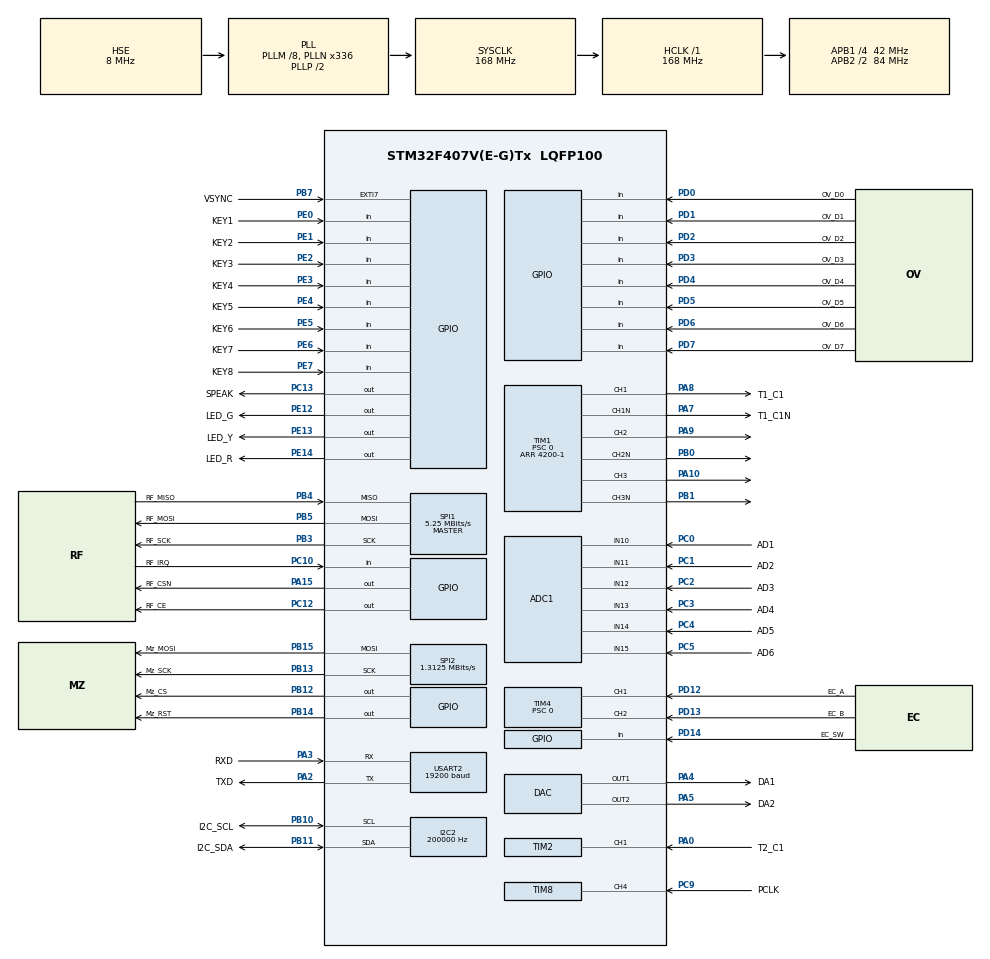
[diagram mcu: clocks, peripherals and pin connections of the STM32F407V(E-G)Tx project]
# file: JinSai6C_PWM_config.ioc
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ADC1.Channel-0\#ChannelRegularConversion=ADC_CHANNEL_10
ADC1.Channel-1\#ChannelRegularConversion=ADC_CHANNEL_11
ADC1.Channel-2\#ChannelRegularConversion=ADC_CHANNEL_12
ADC1.Channel-3\#ChannelRegularConversion=ADC_CHANNEL_13
ADC1.Channel-4\#ChannelRegularConversion=ADC_CHANNEL_14
ADC1.Channel-5\#ChannelRegularConversion=ADC_CHANNEL_15
ADC1.ContinuousConvMode=ENABLE
ADC1.DMAContinuousRequests=ENABLE
ADC1.EOCSelection=ADC_EOC_SEQ_CONV
ADC1.ExternalTrigConv=ADC_EXTERNALTRIGCONV_T3_TRGO
ADC1.NbrOfConversion=6
ADC1.NbrOfConversionFlag=1
ADC1.Rank-0\#ChannelRegularConversion=1
ADC1.Rank-1\#ChannelRegularConversion=2
ADC1.Rank-2\#ChannelRegularConversion=3
ADC1.Rank-3\#ChannelRegularConversion=4
ADC1.Rank-4\#ChannelRegularConversion=5
ADC1.Rank-5\#ChannelRegularConversion=6
ADC1.SamplingTime-0\#ChannelRegularConversion=ADC_SAMPLETIME_3CYCLES
ADC1.SamplingTime-1\#ChannelRegularConversion=ADC_SAMPLETIME_15CYCLES
ADC1.SamplingTime-2\#ChannelRegularConversion=ADC_SAMPLETIME_28CYCLES
ADC1.SamplingTime-3\#ChannelRegularConversion=ADC_SAMPLETIME_56CYCLES
ADC1.SamplingTime-4\#ChannelRegularConversion=ADC_SAMPLETIME_112CYCLES
ADC1.SamplingTime-5\#ChannelRegularConversion=ADC_SAMPLETIME_144CYCLES
ADC1.ScanConvMode=ENABLE
ADC1.master=1
DAC.DAC_OutputBuffer=DAC_OUTPUTBUFFER_DISABLE
Dma.ADC1.0.Direction=DMA_PERIPH_TO_MEMORY
Dma.ADC1.0.FIFOMode=DMA_FIFOMODE_DISABLE
Dma.ADC1.0.Instance=DMA2_Stream0
Dma.ADC1.0.MemDataAlignment=DMA_MDATAALIGN_WORD
Dma.ADC1.0.MemInc=DMA_MINC_ENABLE
Dma.ADC1.0.Mode=DMA_CIRCULAR
Dma.ADC1.0.PeriphDataAlignment=DMA_PDATAALIGN_WORD
Dma.ADC1.0.PeriphInc=DMA_PINC_DISABLE
Dma.ADC1.0.Priority=DMA_PRIORITY_HIGH
Dma.Request0=ADC1
Dma.Request1=TIM8_CH4/TRIG/COM
Dma.TIM8_CH4/TRIG/COM.1.Direction=DMA_PERIPH_TO_MEMORY
Dma.TIM8_CH4/TRIG/COM.1.FIFOMode=DMA_FIFOMODE_DISABLE
Dma.TIM8_CH4/TRIG/COM.1.Instance=DMA2_Stream7
Dma.TIM8_CH4/TRIG/COM.1.MemDataAlignment=DMA_MDATAALIGN_BYTE
Dma.TIM8_CH4/TRIG/COM.1.MemInc=DMA_MINC_ENABLE
Dma.TIM8_CH4/TRIG/COM.1.Mode=DMA_CIRCULAR
Dma.TIM8_CH4/TRIG/COM.1.PeriphDataAlignment=DMA_PDATAALIGN_BYTE
Dma.TIM8_CH4/TRIG/COM.1.PeriphInc=DMA_PINC_DISABLE
Dma.TIM8_CH4/TRIG/COM.1.Priority=DMA_PRIORITY_HIGH
I2C2.ClockSpeed=200000
I2C2.I2C_Mode=I2C_Fast
Mcu.Family=STM32F4
Mcu.Name=STM32F407V(E-G)Tx
Mcu.Package=LQFP100
NVIC.ADC_IRQn=true\:0\:0\:false\:false\:true\:true\:true
NVIC.DMA2_Stream0_IRQn=true\:0\:0\:false\:false\:true\:false\:true
NVIC.DMA2_Stream7_IRQn=true\:0\:0\:false\:false\:true\:false\:true
NVIC.EXTI9_5_IRQn=true\:1\:0\:true\:false\:true\:true\:true
NVIC.PriorityGroup=NVIC_PRIORITYGROUP_4
NVIC.RTC_Alarm_IRQn=true\:3\:0\:true\:false\:true\:true\:true
NVIC.TIM1_TRG_COM_TIM11_IRQn=true\:0\:0\:false\:false\:true\:true\:true
NVIC.TIM1_UP_TIM10_IRQn=true\:0\:0\:false\:false\:true\:true\:true
NVIC.TIM3_IRQn=true\:1\:0\:true\:false\:true\:true\:true
NVIC.USART2_IRQn=true\:2\:0\:true\:false\:true\:true\:true
PA0-WKUP.GPIO_Label=T2_C1
PA0-WKUP.GPIO_PuPd=GPIO_PULLUP
PA0-WKUP.Signal=S_TIM2_CH1_ETR
PA10.Signal=S_TIM1_CH3
PA13.Mode=Serial_Wire
PA13.Signal=SYS_JTMS-SWDIO
PA14.Mode=Serial_Wire
PA14.Signal=SYS_JTCK-SWCLK
PA15.GPIO_Label=RF_CSN
PA15.GPIO_Speed=GPIO_SPEED_FREQ_HIGH
PA15.PinState=GPIO_PIN_SET
PA15.Signal=GPIO_Output
PA2.GPIO_Label=TXD
PA2.GPIO_Speed=GPIO_SPEED_FREQ_MEDIUM
PA2.Mode=Asynchronous
PA2.Signal=USART2_TX
PA3.GPIO_Label=RXD
PA3.GPIO_Speed=GPIO_SPEED_FREQ_MEDIUM
PA3.Mode=Asynchronous
PA3.Signal=USART2_RX
PA4.GPIO_Label=DA1
PA4.Signal=COMP_DAC1_group
PA5.GPIO_Label=DA2
PA5.Signal=COMP_DAC2_group
PA7.GPIO_Label=T1_C1N
PA7.Mode=PWM Generation1 CH1 CH1N
PA7.Signal=TIM1_CH1N
PA8.GPIO_Label=T1_C1
PA8.Signal=S_TIM1_CH1
PA9.Signal=S_TIM1_CH2
PB0.Mode=Output Compare2 CH2 CH2N
PB0.Signal=TIM1_CH2N
PB1.Mode=Output Compare3 CH3 CH3N
PB1.Signal=TIM1_CH3N
PB10.GPIO_Label=I2C_SCL
PB10.GPIO_Speed=GPIO_SPEED_FREQ_MEDIUM
PB10.Mode=I2C
PB10.Signal=I2C2_SCL
PB11.GPIO_Label=I2C_SDA
PB11.GPIO_Speed=GPIO_SPEED_FREQ_MEDIUM
PB11.Mode=I2C
PB11.Signal=I2C2_SDA
PB12.GPIO_Label=Mz_CS
PB12.Signal=GPIO_Output
PB13.GPIO_Label=Mz_SCK
PB13.GPIO_Speed=GPIO_SPEED_FREQ_MEDIUM
PB13.Mode=TX_Only_Simplex_Unidirect_Master
PB13.Signal=SPI2_SCK
PB14.GPIO_Label=Mz_RST
PB14.Signal=GPIO_Output
PB15.GPIO_Label=Mz_MOSI
PB15.GPIO_Speed=GPIO_SPEED_FREQ_MEDIUM
PB15.Mode=TX_Only_Simplex_Unidirect_Master
PB15.Signal=SPI2_MOSI
PB3.GPIO_Label=RF_SCK
PB3.GPIO_Speed=GPIO_SPEED_FREQ_HIGH
PB3.Mode=Full_Duplex_Master
PB3.Signal=SPI1_SCK
PB4.GPIO_Label=RF_MISO
PB4.GPIO_Speed=GPIO_SPEED_FREQ_HIGH
PB4.Mode=Full_Duplex_Master
PB4.Signal=SPI1_MISO
PB5.GPIO_Label=RF_MOSI
PB5.GPIO_Speed=GPIO_SPEED_FREQ_HIGH
PB5.Mode=Full_Duplex_Master
PB5.Signal=SPI1_MOSI
PB7.GPIO_Label=VSYNC
PB7.GPIO_ModeDefaultEXTI=GPIO_MODE_IT_FALLING
PB7.GPIO_PuPd=GPIO_PULLDOWN
PB7.Signal=GPXTI7
PC0.GPIO_Label=AD1
PC0.Signal=ADCx_IN10
PC1.GPIO_Label=AD2
PC1.Signal=ADCx_IN11
PC10.GPIO_Label=RF_IRQ
PC10.GPIO_PuPd=GPIO_PULLUP
PC10.Signal=GPIO_Input
PC12.GPIO_Label=RF_CE
PC12.GPIO_Speed=GPIO_SPEED_FREQ_HIGH
PC12.Signal=GPIO_Output
PC13-ANTI_TAMP.GPIO_Label=SPEAK
PC13-ANTI_TAMP.Signal=GPIO_Output
PC14-OSC32_IN.Mode=LSE-External-Oscillator
PC14-OSC32_IN.Signal=RCC_OSC32_IN
PC15-OSC32_OUT.Mode=LSE-External-Oscillator
PC15-OSC32_OUT.Signal=RCC_OSC32_OUT
PC2.GPIO_Label=AD3
PC2.Signal=ADCx_IN12
PC3.GPIO_Label=AD4
PC3.Signal=ADCx_IN13
PC4.GPIO_Label=AD5
PC4.Signal=ADCx_IN14
PC5.GPIO_Label=AD6
PC5.Signal=ADCx_IN15
PC9.GPIO_Label=PCLK
PC9.GPIO_Speed=GPIO_SPEED_FREQ_VERY_HIGH
PC9.Signal=S_TIM8_CH4
PD0.GPIO_Label=OV_D0
PD0.GPIO_PuPd=GPIO_PULLDOWN
PD0.Signal=GPIO_Input
PD1.GPIO_Label=OV_D1
PD1.GPIO_PuPd=GPIO_PULLDOWN
PD1.Signal=GPIO_Input
PD12.GPIO_Label=EC_A
PD12.GPIO_PuPd=GPIO_PULLUP
PD12.Signal=S_TIM4_CH1
PD13.GPIO_Label=EC_B
PD13.GPIO_PuPd=GPIO_PULLUP
PD13.Signal=S_TIM4_CH2
PD14.GPIO_Label=EC_SW
PD14.GPIO_PuPd=GPIO_PULLUP
PD14.Signal=GPIO_Input
PD2.GPIO_Label=OV_D2
PD2.GPIO_PuPd=GPIO_PULLDOWN
PD2.Signal=GPIO_Input
PD3.GPIO_Label=OV_D3
PD3.GPIO_PuPd=GPIO_PULLDOWN
PD3.Signal=GPIO_Input
PD4.GPIO_Label=OV_D4
PD4.GPIO_PuPd=GPIO_PULLDOWN
PD4.Signal=GPIO_Input
PD5.GPIO_Label=OV_D5
PD5.GPIO_PuPd=GPIO_PULLDOWN
PD5.Signal=GPIO_Input
PD6.GPIO_Label=OV_D6
PD6.GPIO_PuPd=GPIO_PULLDOWN
PD6.Signal=GPIO_Input
PD7.GPIO_Label=OV_D7
PD7.GPIO_PuPd=GPIO_PULLDOWN
PD7.Signal=GPIO_Input
PE0.GPIO_Label=KEY1
PE0.GPIO_PuPd=GPIO_PULLUP
PE0.Signal=GPIO_Input
PE1.GPIO_Label=KEY2
PE1.GPIO_PuPd=GPIO_PULLUP
PE1.Signal=GPIO_Input
PE12.GPIO_Label=LED_G
PE12.Signal=GPIO_Output
PE13.GPIO_Label=LED_Y
PE13.Signal=GPIO_Output
PE14.GPIO_Label=LED_R
PE14.Signal=GPIO_Output
PE2.GPIO_Label=KEY3
PE2.GPIO_PuPd=GPIO_PULLUP
PE2.Signal=GPIO_Input
PE3.GPIO_Label=KEY4
PE3.GPIO_PuPd=GPIO_PULLUP
PE3.Signal=GPIO_Input
PE4.GPIO_Label=KEY5
PE4.GPIO_PuPd=GPIO_PULLUP
PE4.Signal=GPIO_Input
PE5.GPIO_Label=KEY6
PE5.GPIO_PuPd=GPIO_PULLUP
PE5.Signal=GPIO_Input
PE6.GPIO_Label=KEY7
PE6.GPIO_PuPd=GPIO_PULLUP
PE6.Signal=GPIO_Input
PE7.GPIO_Label=KEY8
PE7.GPIO_PuPd=GPIO_PULLUP
PE7.Signal=GPIO_Input
PH0-OSC_IN.Mode=HSE-External-Oscillator
PH0-OSC_IN.Signal=RCC_OSC_IN
PH1-OSC_OUT.Mode=HSE-External-Oscillator
PH1-OSC_OUT.Signal=RCC_OSC_OUT
ProjectManager.HeapSize=0x200
ProjectManager.StackSize=0x400
ProjectManager.TargetToolchain=MDK-ARM V5
RCC.48MHZClocksFreq_Value=84000000
RCC.AHBFreq_Value=168000000
RCC.APB1CLKDivider=RCC_HCLK_DIV4
RCC.APB1Freq_Value=42000000
RCC.APB1TimFreq_Value=84000000
RCC.APB2CLKDivider=RCC_HCLK_DIV2
RCC.APB2Freq_Value=84000000
RCC.APB2TimFreq_Value=168000000
RCC.CortexFreq_Value=168000000
RCC.HCLKFreq_Value=168000000
RCC.HSE_VALUE=8000000
RCC.HSI_VALUE=16000000
RCC.PLLM=8
RCC.PLLN=336
RCC.PLLSourceVirtual=RCC_PLLSOURCE_HSE
RCC.RCC_RTC_Clock_Source=RCC_RTCCLKSOURCE_LSE
RCC.RCC_RTC_Clock_SourceVirtual=RCC_RTCCLKSOURCE_LSE
RCC.SYSCLKFreq_VALUE=168000000
RCC.SYSCLKSource=RCC_SYSCLKSOURCE_PLLCLK
RCC.VCOOutputFreq_Value=336000000
RTC.Alarm=RTC_ALARM_A
RTC.AlarmMaskDateWeekDay=RTC_ALARMMASK_DATEWEEKDAY
RTC.AlarmMaskHours=RTC_ALARMMASK_HOURS
RTC.AlarmSubSecondMask=RTC_ALARMSUBSECONDMASK_NONE
RTC.Date=1
RTC.Format=RTC_FORMAT_BIN
RTC.Hours=12
RTC.Minutes=59
RTC.Minutes_A=59
RTC.Month=RTC_MONTH_JANUARY
RTC.Seconds=30
RTC.Seconds_A=59
RTC.SubSeconds_A=51
RTC.WeekDay=RTC_WEEKDAY_TUESDAY
RTC.Year=19
SH.ADCx_IN10.0=ADC1_IN10,IN10
SH.ADCx_IN11.0=ADC1_IN11,IN11
SH.ADCx_IN12.0=ADC1_IN12,IN12
SH.ADCx_IN13.0=ADC1_IN13,IN13
SH.ADCx_IN14.0=ADC1_IN14,IN14
SH.ADCx_IN15.0=ADC1_IN15,IN15
SH.COMP_DAC1_group.0=DAC_OUT1,DAC_OUT1
SH.COMP_DAC2_group.0=DAC_OUT2,DAC_OUT2
SH.S_TIM1_CH1.0=TIM1_CH1,PWM Generation1 CH1 CH1N
SH.S_TIM1_CH2.0=TIM1_CH2,Output Compare2 CH2 CH2N
SH.S_TIM1_CH3.0=TIM1_CH3,Output Compare3 CH3 CH3N
SH.S_TIM2_CH1_ETR.0=TIM2_CH1,PWM_Input_1
SH.S_TIM4_CH1.0=TIM4_CH1,Encoder_Interface
SH.S_TIM4_CH2.0=TIM4_CH2,Encoder_Interface
SH.S_TIM8_CH4.0=TIM8_CH4,Input_Capture4_from_TI4
SPI1.BaudRatePrescaler=SPI_BAUDRATEPRESCALER_16
SPI1.CalculateBaudRate=5.25 MBits/s
SPI1.Direction=SPI_DIRECTION_2LINES
SPI1.Mode=SPI_MODE_MASTER
SPI1.VirtualType=VM_MASTER
SPI2.BaudRatePrescaler=SPI_BAUDRATEPRESCALER_32
SPI2.CLKPhase=SPI_PHASE_2EDGE
SPI2.CLKPolarity=SPI_POLARITY_HIGH
SPI2.CalculateBaudRate=1.3125 MBits/s
SPI2.Direction=SPI_DIRECTION_2LINES
SPI2.Mode=SPI_MODE_MASTER
SPI2.VirtualType=VM_MASTER
TIM1.Channel-Output\ Compare2\ CH2\ CH2N=TIM_CHANNEL_2
TIM1.Channel-Output\ Compare3\ CH3\ CH3N=TIM_CHANNEL_3
TIM1.Channel-Output\ Compare4\ No\ Output=TIM_CHANNEL_4
TIM1.Channel-PWM\ Generation1\ CH1\ CH1N=TIM_CHANNEL_1
TIM1.CounterMode=TIM_COUNTERMODE_CENTERALIGNED1
TIM1.DeadTime=150
TIM1.Period=4200-1
TIM1.Prescaler=0
TIM1.Pulse-Output\ Compare4\ No\ Output=1000
TIM1.Pulse-PWM\ Generation1\ CH1\ CH1N=4200
TIM1.RepetitionCounter=1
TIM1.TIM_MasterOutputTrigger=TIM_TRGO_UPDATE
TIM1.TIM_MasterSlaveMode=TIM_MASTERSLAVEMODE_DISABLE
TIM2.Period=0xffffffff
TIM2.Prescaler=83
TIM3.CounterMode=TIM_COUNTERMODE_CENTERALIGNED1
TIM3.Period=8400-1
TIM3.Prescaler=0
TIM3.TIM_MasterOutputTrigger=TIM_TRGO_UPDATE
TIM4.EncoderMode=TIM_ENCODERMODE_TI12
TIM4.Period=8400-1
TIM4.Prescaler=0
TIM8.Channel-Input_Capture4_from_TI4=TIM_CHANNEL_4
TIM8.Period=0xffff
TIM8.Prescaler=167
USART2.BaudRate=19200
USART2.VirtualMode=VM_ASYNC
VP_ADC1_TempSens_Input.Mode=IN-TempSens
VP_ADC1_Vbat_Input.Mode=IN-Vbat
VP_ADC1_Vref_Input.Mode=IN-Vrefint
VP_RTC_VS_RTC_Activate.Mode=RTC_Enabled
VP_RTC_VS_RTC_Alarm_A_Intern.Mode=Alarm A
VP_RTC_VS_RTC_Calendar.Mode=RTC_Calendar
VP_TIM1_VS_ClockSourceINT.Mode=Internal
VP_TIM1_VS_no_output4.Mode=Output Compare4 No Output
VP_TIM2_VS_ClockSourceINT.Mode=Internal
VP_TIM3_VS_ClockSourceINT.Mode=Internal
VP_TIM3_VS_ClockSourceITR.Mode=TriggerSource_ITR0
VP_TIM3_VS_ControllerModeTrigger.Mode=Trigger Mode
VP_TIM8_VS_ClockSourceINT.Mode=Internal
board=custom

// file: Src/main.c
/* USER CODE BEGIN Header */
/**
  ******************************************************************************
  * @file           : main.c
  * @brief          : Main program body
  ******************************************************************************
  * @attention
  *
  * <h2><center>&copy; Copyright (c) 2025 STMicroelectronics.
  * All rights reserved.</center></h2>
  *
  * This software component is licensed by ST under BSD 3-Clause license,
  * the "License"; You may not use this file except in compliance with the
  * License. You may obtain a copy of the License at:
  *                        opensource.org/licenses/BSD-3-Clause
  *
  ******************************************************************************
  */
/* USER CODE END Header */

#include "main.h"

/* USER CODE BEGIN Includes */

// include GMP headers
#include <gmp_core.h>

/* USER CODE END Includes */

/* USER CODE BEGIN PTD */
uint8_t X_Witch=8,Y_Witch=16,X_Witch_cn=16,Y_Witch_cn=16;
/* USER CODE END PTD */

ADC_HandleTypeDef hadc1;
DMA_HandleTypeDef hdma_adc1;

DAC_HandleTypeDef hdac;

I2C_HandleTypeDef hi2c2;

RTC_HandleTypeDef hrtc;

SPI_HandleTypeDef hspi1;
SPI_HandleTypeDef hspi2;

TIM_HandleTypeDef htim1;
TIM_HandleTypeDef htim2;
TIM_HandleTypeDef htim3;
TIM_HandleTypeDef htim4;
TIM_HandleTypeDef htim8;
DMA_HandleTypeDef hdma_tim8_ch4_trig_com;

UART_HandleTypeDef huart2;

void SystemClock_Config(void);
static void MX_GPIO_Init(void);
static void MX_DMA_Init(void);
static void MX_RTC_Init(void);
static void MX_SPI2_Init(void);
static void MX_ADC1_Init(void);
static void MX_DAC_Init(void);
static void MX_I2C2_Init(void);
static void MX_USART2_UART_Init(void);
static void MX_TIM1_Init(void);
static void MX_TIM2_Init(void);
static void MX_TIM4_Init(void);
static void MX_SPI1_Init(void);
static void MX_TIM8_Init(void);
static void MX_TIM3_Init(void);
/* USER CODE BEGIN PFP */
void MzInit(void);			   		/* MzLH04初始化 */
void MzClearScreen(void);		/* MzLH04清屏 */
void MzCommand(uint8_t i, uint8_t * Data);		/* 给MzLH04传输命令 */
void MzPutChar(uint8_t x,uint8_t y,uint8_t a); 		  	/* MzLH04在指定位置显示ASCII字符 */
void MzPutString(uint8_t x,uint8_t y,uint8_t *p);		/* MzLH04在指定位置开始显示ASCII字符串 */
void MzPutChar_cn(uint8_t x,uint8_t y,uint8_t * GB); 	/* MzLH04在指定位置显示汉字字符 */
void MzPutString_cn(uint8_t x,uint8_t y,uint8_t *p);		/* MzLH04在指定位置开始显示汉字字符串 */
void MzSetBackLight(uint8_t Deg); 	 			/* MzLH04设置背光的亮度等级 */
void MzShowChar(uint8_t x,uint8_t y,uint8_t a,uint8_t type); 	/* MzLH04在指定位置显示char值 */
void MzShowShort(uint8_t x,uint8_t y,uint16_t a,uint8_t type);/* MzLH04在指定位置显示short值 */
/* USER CODE END PFP */

/* USER CODE BEGIN 0 */
void MzInit(void)			   /* MzLH04初始化 */
{
	HAL_GPIO_WritePin(Mz_RST_GPIO_Port, Mz_RST_Pin, GPIO_PIN_RESET);		/* Mz_RST=0 */
	HAL_Delay(20);		/* MzLH04要求复位低电平至少持续2ms */
	HAL_GPIO_WritePin(Mz_RST_GPIO_Port, Mz_RST_Pin, GPIO_PIN_SET);			/* Mz_RST=1 */
	HAL_Delay(100);		/* MzLH04要求复位后高电平至少等待10ms */
}

/*****************************************************************************/

void MzClearScreen(void)		/* MzLH04清屏 */
	{
		uint8_t BUF[]={0x80};
		MzCommand(1, BUF);
	}

/*****************************************************************************/

void MzCommand(uint8_t i, uint8_t * Data)		/* 给MzLH04传输命令 */
{
	HAL_StatusTypeDef State;

	HAL_GPIO_WritePin(Mz_CS_GPIO_Port, Mz_CS_Pin, GPIO_PIN_RESET);		/* Mz_CS=0 */
	State=HAL_SPI_Transmit (&hspi2, Data, i, 10);		/* 超时时间设为10ms */
	while(State!=HAL_OK);
	HAL_GPIO_WritePin(Mz_CS_GPIO_Port, Mz_CS_Pin, GPIO_PIN_SET);			/* Mz_CS=1 */
}

/*****************************************************************************/

void MzPutChar(uint8_t x,uint8_t y,uint8_t a) 		  /* MzLH04在指定位置显示ASCII字符 */
{
	uint8_t BUF[4];

	BUF[0]=	0x07;
	BUF[1]=x;
	BUF[2]=y;
	BUF[3]=a;
	MzCommand(4, BUF);
}

/*****************************************************************************/

void MzPutString(uint8_t x,uint8_t y,uint8_t *p)		 /* MzLH04在指定位置开始显示ASCII字符串 */
{
	while(*p!=0)
	{
		MzPutChar(x,y,*p);
		x += X_Witch;
		if(x > (128-X_Witch) )
		{
			x = 0;
			y += Y_Witch;
			if(y > (64 - Y_Witch)) y=0;
		}
		p++;
	}
}

/*****************************************************************************/

void MzPutChar_cn(uint8_t x,uint8_t y,uint8_t * GB) 			  /* MzLH04在指定位置显示汉字字符 */
{
	uint8_t BUF[5];

	BUF[0]=	0x08;
	BUF[1]=x;
	BUF[2]=y;
	BUF[3]=GB[0];
	BUF[4]=GB[1];
	MzCommand(5, BUF);
}

/*****************************************************************************/

void MzPutString_cn(uint8_t x,uint8_t y,uint8_t *p)		 /* MzLH04在指定位置开始显示汉字字符串 */
{
	while(*p!=0)
	{
		if(*p<0x80)
		{
			MzPutChar(x,y,*p);
			x += X_Witch;
			if(x > (128-X_Witch) )
			{
				x = 0;
				y += Y_Witch;
				if(y > (64 - Y_Witch)) y=0;
			}
			p++;
		}
		else
		{
			MzPutChar_cn(x,y,p);
			x += X_Witch_cn;
			if(x > (128-X_Witch_cn) )
			{
				x = 0;
				y += Y_Witch_cn;
				if(y > (64 - Y_Witch_cn)) y=0;
			}
			p+=2;
		}
	}
}

/*****************************************************************************/

void MzSetBackLight(uint8_t Deg) 	 /* MzLH04设置背光的亮度等级 */
{
	uint8_t BUF[2];

	BUF[0]=0x8a;
	BUF[1]=Deg;
	MzCommand(2, BUF);
}

/*****************************************************************************/

void MzShowChar(uint8_t x,uint8_t y,uint8_t a,uint8_t type) 	 /* MzLH04在指定位置显示char值 */
{
	uint8_t BUF[5];

	BUF[0]=0x0b;
	BUF[1]=x;
	BUF[2]=y;
	BUF[3]=a;
	BUF[4]=type;	/* 0:3位数，1：左对齐有效数，2：右对齐有效数 */
	MzCommand(5, BUF);
}

/*****************************************************************************/

void MzShowShort(uint8_t x,uint8_t y,uint16_t a,uint8_t type)    /* MzLH04在指定位置显示short值 */
{
	uint8_t BUF[6];

	BUF[0]=0x0c;
	BUF[1]=x;
	BUF[2]=y;
	BUF[3]=a>>8;
	BUF[4]=a;
	BUF[5]=type;		/* 0:5位数，1：左对齐有效数，2：右对齐有效数 */
	MzCommand(6, BUF);
}

/*****************************************************************************/

/* USER CODE END 0 */

int main(void)
{

  /* MCU Configuration--------------------------------------------------------*/

  /* Reset of all peripherals, Initializes the Flash interface and the Systick. */
  HAL_Init();

  /* Configure the system clock */
  SystemClock_Config();

  /* Initialize all configured peripherals */
  MX_GPIO_Init();
  MX_DMA_Init();
  MX_RTC_Init();
  MX_SPI2_Init();
  MX_ADC1_Init();
  MX_DAC_Init();
  MX_I2C2_Init();
  MX_USART2_UART_Init();
  MX_TIM1_Init();
  MX_TIM2_Init();
  MX_TIM4_Init();
  MX_SPI1_Init();
  MX_TIM8_Init();
  MX_TIM3_Init();
  /* USER CODE BEGIN 2 */
	MzInit();

	MzSetBackLight(100);
	MzClearScreen();
	// Controller Starup at the last position
	gmp_base_init();
  /* USER CODE END 2 */

  /* Infinite loop */
  /* USER CODE BEGIN WHILE */
  while (1)
  {

		gmp_base_loop();
    /* USER CODE END WHILE */

  }
}

void SystemClock_Config(void)
{
  RCC_OscInitTypeDef RCC_OscInitStruct = {0};
  RCC_ClkInitTypeDef RCC_ClkInitStruct = {0};
  RCC_PeriphCLKInitTypeDef PeriphClkInitStruct = {0};

  /** Configure the main internal regulator output voltage
  */
  __HAL_RCC_PWR_CLK_ENABLE();
  __HAL_PWR_VOLTAGESCALING_CONFIG(PWR_REGULATOR_VOLTAGE_SCALE1);
  /** Initializes the CPU, AHB and APB busses clocks
  */
  RCC_OscInitStruct.OscillatorType = RCC_OSCILLATORTYPE_HSE|RCC_OSCILLATORTYPE_LSE;
  RCC_OscInitStruct.HSEState = RCC_HSE_ON;
  RCC_OscInitStruct.LSEState = RCC_LSE_ON;
  RCC_OscInitStruct.PLL.PLLState = RCC_PLL_ON;
  RCC_OscInitStruct.PLL.PLLSource = RCC_PLLSOURCE_HSE;
  RCC_OscInitStruct.PLL.PLLM = 8;
  RCC_OscInitStruct.PLL.PLLN = 336;
  RCC_OscInitStruct.PLL.PLLP = RCC_PLLP_DIV2;
  RCC_OscInitStruct.PLL.PLLQ = 4;
  if (HAL_RCC_OscConfig(&RCC_OscInitStruct) != HAL_OK)
  {
    Error_Handler();
  }
  /** Initializes the CPU, AHB and APB busses clocks
  */
  RCC_ClkInitStruct.ClockType = RCC_CLOCKTYPE_HCLK|RCC_CLOCKTYPE_SYSCLK
                              |RCC_CLOCKTYPE_PCLK1|RCC_CLOCKTYPE_PCLK2;
  RCC_ClkInitStruct.SYSCLKSource = RCC_SYSCLKSOURCE_PLLCLK;
  RCC_ClkInitStruct.AHBCLKDivider = RCC_SYSCLK_DIV1;
  RCC_ClkInitStruct.APB1CLKDivider = RCC_HCLK_DIV4;
  RCC_ClkInitStruct.APB2CLKDivider = RCC_HCLK_DIV2;

  if (HAL_RCC_ClockConfig(&RCC_ClkInitStruct, FLASH_LATENCY_5) != HAL_OK)
  {
    Error_Handler();
  }
  PeriphClkInitStruct.PeriphClockSelection = RCC_PERIPHCLK_RTC;
  PeriphClkInitStruct.RTCClockSelection = RCC_RTCCLKSOURCE_LSE;
  if (HAL_RCCEx_PeriphCLKConfig(&PeriphClkInitStruct) != HAL_OK)
  {
    Error_Handler();
  }
}

static void MX_ADC1_Init(void)
{

  ADC_ChannelConfTypeDef sConfig = {0};

  /** Configure the global features of the ADC (Clock, Resolution, Data Alignment and number of conversion)
  */
  hadc1.Instance = ADC1;
  hadc1.Init.ClockPrescaler = ADC_CLOCK_SYNC_PCLK_DIV4;
  hadc1.Init.Resolution = ADC_RESOLUTION_12B;
  hadc1.Init.ScanConvMode = ENABLE;
  hadc1.Init.ContinuousConvMode = ENABLE;
  hadc1.Init.DiscontinuousConvMode = DISABLE;
  hadc1.Init.ExternalTrigConvEdge = ADC_EXTERNALTRIGCONVEDGE_RISING;
  hadc1.Init.ExternalTrigConv = ADC_EXTERNALTRIGCONV_T3_TRGO;
  hadc1.Init.DataAlign = ADC_DATAALIGN_RIGHT;
  hadc1.Init.NbrOfConversion = 6;
  hadc1.Init.DMAContinuousRequests = ENABLE;
  hadc1.Init.EOCSelection = ADC_EOC_SEQ_CONV;
  if (HAL_ADC_Init(&hadc1) != HAL_OK)
  {
    Error_Handler();
  }
  /** Configure for the selected ADC regular channel its corresponding rank in the sequencer and its sample time.
  */
  sConfig.Channel = ADC_CHANNEL_10;
  sConfig.Rank = 1;
  sConfig.SamplingTime = ADC_SAMPLETIME_3CYCLES;
  if (HAL_ADC_ConfigChannel(&hadc1, &sConfig) != HAL_OK)
  {
    Error_Handler();
  }
  /** Configure for the selected ADC regular channel its corresponding rank in the sequencer and its sample time.
  */
  sConfig.Channel = ADC_CHANNEL_11;
  sConfig.Rank = 2;
  sConfig.SamplingTime = ADC_SAMPLETIME_15CYCLES;
  if (HAL_ADC_ConfigChannel(&hadc1, &sConfig) != HAL_OK)
  {
    Error_Handler();
  }
  /** Configure for the selected ADC regular channel its corresponding rank in the sequencer and its sample time.
  */
  sConfig.Channel = ADC_CHANNEL_12;
  sConfig.Rank = 3;
  sConfig.SamplingTime = ADC_SAMPLETIME_28CYCLES;
  if (HAL_ADC_ConfigChannel(&hadc1, &sConfig) != HAL_OK)
  {
    Error_Handler();
  }
  /** Configure for the selected ADC regular channel its corresponding rank in the sequencer and its sample time.
  */
  sConfig.Channel = ADC_CHANNEL_13;
  sConfig.Rank = 4;
  sConfig.SamplingTime = ADC_SAMPLETIME_56CYCLES;
  if (HAL_ADC_ConfigChannel(&hadc1, &sConfig) != HAL_OK)
  {
    Error_Handler();
  }
  /** Configure for the selected ADC regular channel its corresponding rank in the sequencer and its sample time.
  */
  sConfig.Channel = ADC_CHANNEL_14;
  sConfig.Rank = 5;
  sConfig.SamplingTime = ADC_SAMPLETIME_112CYCLES;
  if (HAL_ADC_ConfigChannel(&hadc1, &sConfig) != HAL_OK)
  {
    Error_Handler();
  }
  /** Configure for the selected ADC regular channel its corresponding rank in the sequencer and its sample time.
  */
  sConfig.Channel = ADC_CHANNEL_15;
  sConfig.Rank = 6;
  sConfig.SamplingTime = ADC_SAMPLETIME_144CYCLES;
  if (HAL_ADC_ConfigChannel(&hadc1, &sConfig) != HAL_OK)
  {
    Error_Handler();
  }

}

static void MX_DAC_Init(void)
{

  DAC_ChannelConfTypeDef sConfig = {0};

  /** DAC Initialization
  */
  hdac.Instance = DAC;
  if (HAL_DAC_Init(&hdac) != HAL_OK)
  {
    Error_Handler();
  }
  /** DAC channel OUT1 config
  */
  sConfig.DAC_Trigger = DAC_TRIGGER_NONE;
  sConfig.DAC_OutputBuffer = DAC_OUTPUTBUFFER_DISABLE;
  if (HAL_DAC_ConfigChannel(&hdac, &sConfig, DAC_CHANNEL_1) != HAL_OK)
  {
    Error_Handler();
  }
  /** DAC channel OUT2 config
  */
  sConfig.DAC_OutputBuffer = DAC_OUTPUTBUFFER_ENABLE;
  if (HAL_DAC_ConfigChannel(&hdac, &sConfig, DAC_CHANNEL_2) != HAL_OK)
  {
    Error_Handler();
  }

}

static void MX_I2C2_Init(void)
{

  hi2c2.Instance = I2C2;
  hi2c2.Init.ClockSpeed = 200000;
  hi2c2.Init.DutyCycle = I2C_DUTYCYCLE_2;
  hi2c2.Init.OwnAddress1 = 0;
  hi2c2.Init.AddressingMode = I2C_ADDRESSINGMODE_7BIT;
  hi2c2.Init.DualAddressMode = I2C_DUALADDRESS_DISABLE;
  hi2c2.Init.OwnAddress2 = 0;
  hi2c2.Init.GeneralCallMode = I2C_GENERALCALL_DISABLE;
  hi2c2.Init.NoStretchMode = I2C_NOSTRETCH_DISABLE;
  if (HAL_I2C_Init(&hi2c2) != HAL_OK)
  {
    Error_Handler();
  }

}

static void MX_RTC_Init(void)
{

  RTC_TimeTypeDef sTime = {0};
  RTC_DateTypeDef sDate = {0};
  RTC_AlarmTypeDef sAlarm = {0};

  /** Initialize RTC Only
  */
  hrtc.Instance = RTC;
  hrtc.Init.HourFormat = RTC_HOURFORMAT_24;
  hrtc.Init.AsynchPrediv = 127;
  hrtc.Init.SynchPrediv = 255;
  hrtc.Init.OutPut = RTC_OUTPUT_DISABLE;
  hrtc.Init.OutPutPolarity = RTC_OUTPUT_POLARITY_HIGH;
  hrtc.Init.OutPutType = RTC_OUTPUT_TYPE_OPENDRAIN;
  if (HAL_RTC_Init(&hrtc) != HAL_OK)
  {
    Error_Handler();
  }

  /** Initialize RTC and set the Time and Date
  */
  sTime.Hours = 12;
  sTime.Minutes = 59;
  sTime.Seconds = 30;
  sTime.DayLightSaving = RTC_DAYLIGHTSAVING_NONE;
  sTime.StoreOperation = RTC_STOREOPERATION_RESET;
  if (HAL_RTC_SetTime(&hrtc, &sTime, RTC_FORMAT_BIN) != HAL_OK)
  {
    Error_Handler();
  }
  sDate.WeekDay = RTC_WEEKDAY_TUESDAY;
  sDate.Month = RTC_MONTH_JANUARY;
  sDate.Date = 1;
  sDate.Year = 19;

  if (HAL_RTC_SetDate(&hrtc, &sDate, RTC_FORMAT_BIN) != HAL_OK)
  {
    Error_Handler();
  }
  /** Enable the Alarm A
  */
  sAlarm.AlarmTime.Hours = 0;
  sAlarm.AlarmTime.Minutes = 59;
  sAlarm.AlarmTime.Seconds = 59;
  sAlarm.AlarmTime.SubSeconds = 51;
  sAlarm.AlarmTime.DayLightSaving = RTC_DAYLIGHTSAVING_NONE;
  sAlarm.AlarmTime.StoreOperation = RTC_STOREOPERATION_RESET;
  sAlarm.AlarmMask = RTC_ALARMMASK_DATEWEEKDAY|RTC_ALARMMASK_HOURS;
  sAlarm.AlarmSubSecondMask = RTC_ALARMSUBSECONDMASK_NONE;
  sAlarm.AlarmDateWeekDaySel = RTC_ALARMDATEWEEKDAYSEL_DATE;
  sAlarm.AlarmDateWeekDay = 1;
  sAlarm.Alarm = RTC_ALARM_A;
  if (HAL_RTC_SetAlarm_IT(&hrtc, &sAlarm, RTC_FORMAT_BIN) != HAL_OK)
  {
    Error_Handler();
  }

}

static void MX_SPI1_Init(void)
{

  /* SPI1 parameter configuration*/
  hspi1.Instance = SPI1;
  hspi1.Init.Mode = SPI_MODE_MASTER;
  hspi1.Init.Direction = SPI_DIRECTION_2LINES;
  hspi1.Init.DataSize = SPI_DATASIZE_8BIT;
  hspi1.Init.CLKPolarity = SPI_POLARITY_LOW;
  hspi1.Init.CLKPhase = SPI_PHASE_1EDGE;
  hspi1.Init.NSS = SPI_NSS_SOFT;
  hspi1.Init.BaudRatePrescaler = SPI_BAUDRATEPRESCALER_16;
  hspi1.Init.FirstBit = SPI_FIRSTBIT_MSB;
  hspi1.Init.TIMode = SPI_TIMODE_DISABLE;
  hspi1.Init.CRCCalculation = SPI_CRCCALCULATION_DISABLE;
  hspi1.Init.CRCPolynomial = 10;
  if (HAL_SPI_Init(&hspi1) != HAL_OK)
  {
    Error_Handler();
  }

}

static void MX_SPI2_Init(void)
{

  /* SPI2 parameter configuration*/
  hspi2.Instance = SPI2;
  hspi2.Init.Mode = SPI_MODE_MASTER;
  hspi2.Init.Direction = SPI_DIRECTION_2LINES;
  hspi2.Init.DataSize = SPI_DATASIZE_8BIT;
  hspi2.Init.CLKPolarity = SPI_POLARITY_HIGH;
  hspi2.Init.CLKPhase = SPI_PHASE_2EDGE;
  hspi2.Init.NSS = SPI_NSS_SOFT;
  hspi2.Init.BaudRatePrescaler = SPI_BAUDRATEPRESCALER_32;
  hspi2.Init.FirstBit = SPI_FIRSTBIT_MSB;
  hspi2.Init.TIMode = SPI_TIMODE_DISABLE;
  hspi2.Init.CRCCalculation = SPI_CRCCALCULATION_DISABLE;
  hspi2.Init.CRCPolynomial = 10;
  if (HAL_SPI_Init(&hspi2) != HAL_OK)
  {
    Error_Handler();
  }

}

static void MX_TIM1_Init(void)
{

  TIM_ClockConfigTypeDef sClockSourceConfig = {0};
  TIM_MasterConfigTypeDef sMasterConfig = {0};
  TIM_OC_InitTypeDef sConfigOC = {0};
  TIM_BreakDeadTimeConfigTypeDef sBreakDeadTimeConfig = {0};

  htim1.Instance = TIM1;
  htim1.Init.Prescaler = 0;
  htim1.Init.CounterMode = TIM_COUNTERMODE_CENTERALIGNED1;
  htim1.Init.Period = 4200-1;
  htim1.Init.ClockDivision = TIM_CLOCKDIVISION_DIV1;
  htim1.Init.RepetitionCounter = 1;
  htim1.Init.AutoReloadPreload = TIM_AUTORELOAD_PRELOAD_DISABLE;
  if (HAL_TIM_Base_Init(&htim1) != HAL_OK)
  {
    Error_Handler();
  }
  sClockSourceConfig.ClockSource = TIM_CLOCKSOURCE_INTERNAL;
  if (HAL_TIM_ConfigClockSource(&htim1, &sClockSourceConfig) != HAL_OK)
  {
    Error_Handler();
  }
  if (HAL_TIM_PWM_Init(&htim1) != HAL_OK)
  {
    Error_Handler();
  }
  if (HAL_TIM_OC_Init(&htim1) != HAL_OK)
  {
    Error_Handler();
  }
  sMasterConfig.MasterOutputTrigger = TIM_TRGO_UPDATE;
  sMasterConfig.MasterSlaveMode = TIM_MASTERSLAVEMODE_DISABLE;
  if (HAL_TIMEx_MasterConfigSynchronization(&htim1, &sMasterConfig) != HAL_OK)
  {
    Error_Handler();
  }
  sConfigOC.OCMode = TIM_OCMODE_PWM1;
  sConfigOC.Pulse = 4200;
  sConfigOC.OCPolarity = TIM_OCPOLARITY_HIGH;
  sConfigOC.OCNPolarity = TIM_OCNPOLARITY_HIGH;
  sConfigOC.OCFastMode = TIM_OCFAST_DISABLE;
  sConfigOC.OCIdleState = TIM_OCIDLESTATE_RESET;
  sConfigOC.OCNIdleState = TIM_OCNIDLESTATE_RESET;
  if (HAL_TIM_PWM_ConfigChannel(&htim1, &sConfigOC, TIM_CHANNEL_1) != HAL_OK)
  {
    Error_Handler();
  }
  sConfigOC.OCMode = TIM_OCMODE_TIMING;
  sConfigOC.Pulse = 0;
  if (HAL_TIM_OC_ConfigChannel(&htim1, &sConfigOC, TIM_CHANNEL_2) != HAL_OK)
  {
    Error_Handler();
  }
  if (HAL_TIM_OC_ConfigChannel(&htim1, &sConfigOC, TIM_CHANNEL_3) != HAL_OK)
  {
    Error_Handler();
  }
  sConfigOC.Pulse = 1000;
  if (HAL_TIM_OC_ConfigChannel(&htim1, &sConfigOC, TIM_CHANNEL_4) != HAL_OK)
  {
    Error_Handler();
  }
  sBreakDeadTimeConfig.OffStateRunMode = TIM_OSSR_DISABLE;
  sBreakDeadTimeConfig.OffStateIDLEMode = TIM_OSSI_DISABLE;
  sBreakDeadTimeConfig.LockLevel = TIM_LOCKLEVEL_OFF;
  sBreakDeadTimeConfig.DeadTime = 150;
  sBreakDeadTimeConfig.BreakState = TIM_BREAK_DISABLE;
  sBreakDeadTimeConfig.BreakPolarity = TIM_BREAKPOLARITY_HIGH;
  sBreakDeadTimeConfig.AutomaticOutput = TIM_AUTOMATICOUTPUT_DISABLE;
  if (HAL_TIMEx_ConfigBreakDeadTime(&htim1, &sBreakDeadTimeConfig) != HAL_OK)
  {
    Error_Handler();
  }
  HAL_TIM_MspPostInit(&htim1);

}

static void MX_TIM2_Init(void)
{

  TIM_ClockConfigTypeDef sClockSourceConfig = {0};
  TIM_SlaveConfigTypeDef sSlaveConfig = {0};
  TIM_IC_InitTypeDef sConfigIC = {0};
  TIM_MasterConfigTypeDef sMasterConfig = {0};

  htim2.Instance = TIM2;
  htim2.Init.Prescaler = 83;
  htim2.Init.CounterMode = TIM_COUNTERMODE_UP;
  htim2.Init.Period = 0xffffffff;
  htim2.Init.ClockDivision = TIM_CLOCKDIVISION_DIV1;
  htim2.Init.AutoReloadPreload = TIM_AUTORELOAD_PRELOAD_DISABLE;
  if (HAL_TIM_Base_Init(&htim2) != HAL_OK)
  {
    Error_Handler();
  }
  sClockSourceConfig.ClockSource = TIM_CLOCKSOURCE_INTERNAL;
  if (HAL_TIM_ConfigClockSource(&htim2, &sClockSourceConfig) != HAL_OK)
  {
    Error_Handler();
  }
  if (HAL_TIM_IC_Init(&htim2) != HAL_OK)
  {
    Error_Handler();
  }
  sSlaveConfig.SlaveMode = TIM_SLAVEMODE_RESET;
  sSlaveConfig.InputTrigger = TIM_TS_TI1FP1;
  sSlaveConfig.TriggerPolarity = TIM_INPUTCHANNELPOLARITY_RISING;
  sSlaveConfig.TriggerPrescaler = TIM_ICPSC_DIV1;
  sSlaveConfig.TriggerFilter = 0;
  if (HAL_TIM_SlaveConfigSynchro(&htim2, &sSlaveConfig) != HAL_OK)
  {
    Error_Handler();
  }
  sConfigIC.ICPolarity = TIM_INPUTCHANNELPOLARITY_RISING;
  sConfigIC.ICSelection = TIM_ICSELECTION_DIRECTTI;
  sConfigIC.ICPrescaler = TIM_ICPSC_DIV1;
  sConfigIC.ICFilter = 0;
  if (HAL_TIM_IC_ConfigChannel(&htim2, &sConfigIC, TIM_CHANNEL_1) != HAL_OK)
  {
    Error_Handler();
  }
  sConfigIC.ICPolarity = TIM_INPUTCHANNELPOLARITY_FALLING;
  sConfigIC.ICSelection = TIM_ICSELECTION_INDIRECTTI;
  if (HAL_TIM_IC_ConfigChannel(&htim2, &sConfigIC, TIM_CHANNEL_2) != HAL_OK)
  {
    Error_Handler();
  }
  sMasterConfig.MasterOutputTrigger = TIM_TRGO_RESET;
  sMasterConfig.MasterSlaveMode = TIM_MASTERSLAVEMODE_DISABLE;
  if (HAL_TIMEx_MasterConfigSynchronization(&htim2, &sMasterConfig) != HAL_OK)
  {
    Error_Handler();
  }

}

static void MX_TIM3_Init(void)
{

  TIM_ClockConfigTypeDef sClockSourceConfig = {0};
  TIM_SlaveConfigTypeDef sSlaveConfig = {0};
  TIM_MasterConfigTypeDef sMasterConfig = {0};

  htim3.Instance = TIM3;
  htim3.Init.Prescaler = 0;
  htim3.Init.CounterMode = TIM_COUNTERMODE_CENTERALIGNED1;
  htim3.Init.Period = 8400-1;
  htim3.Init.ClockDivision = TIM_CLOCKDIVISION_DIV1;
  htim3.Init.AutoReloadPreload = TIM_AUTORELOAD_PRELOAD_DISABLE;
  if (HAL_TIM_Base_Init(&htim3) != HAL_OK)
  {
    Error_Handler();
  }
  sClockSourceConfig.ClockSource = TIM_CLOCKSOURCE_INTERNAL;
  if (HAL_TIM_ConfigClockSource(&htim3, &sClockSourceConfig) != HAL_OK)
  {
    Error_Handler();
  }
  sSlaveConfig.SlaveMode = TIM_SLAVEMODE_TRIGGER;
  sSlaveConfig.InputTrigger = TIM_TS_ITR0;
  if (HAL_TIM_SlaveConfigSynchro(&htim3, &sSlaveConfig) != HAL_OK)
  {
    Error_Handler();
  }
  sMasterConfig.MasterOutputTrigger = TIM_TRGO_UPDATE;
  sMasterConfig.MasterSlaveMode = TIM_MASTERSLAVEMODE_DISABLE;
  if (HAL_TIMEx_MasterConfigSynchronization(&htim3, &sMasterConfig) != HAL_OK)
  {
    Error_Handler();
  }

}

static void MX_TIM4_Init(void)
{

  TIM_Encoder_InitTypeDef sConfig = {0};
  TIM_MasterConfigTypeDef sMasterConfig = {0};

  htim4.Instance = TIM4;
  htim4.Init.Prescaler = 0;
  htim4.Init.CounterMode = TIM_COUNTERMODE_UP;
  htim4.Init.Period = 8400-1;
  htim4.Init.ClockDivision = TIM_CLOCKDIVISION_DIV1;
  htim4.Init.AutoReloadPreload = TIM_AUTORELOAD_PRELOAD_DISABLE;
  sConfig.EncoderMode = TIM_ENCODERMODE_TI12;
  sConfig.IC1Polarity = TIM_ICPOLARITY_RISING;
  sConfig.IC1Selection = TIM_ICSELECTION_DIRECTTI;
  sConfig.IC1Prescaler = TIM_ICPSC_DIV1;
  sConfig.IC1Filter = 0;
  sConfig.IC2Polarity = TIM_ICPOLARITY_RISING;
  sConfig.IC2Selection = TIM_ICSELECTION_DIRECTTI;
  sConfig.IC2Prescaler = TIM_ICPSC_DIV1;
  sConfig.IC2Filter = 0;
  if (HAL_TIM_Encoder_Init(&htim4, &sConfig) != HAL_OK)
  {
    Error_Handler();
  }
  sMasterConfig.MasterOutputTrigger = TIM_TRGO_RESET;
  sMasterConfig.MasterSlaveMode = TIM_MASTERSLAVEMODE_DISABLE;
  if (HAL_TIMEx_MasterConfigSynchronization(&htim4, &sMasterConfig) != HAL_OK)
  {
    Error_Handler();
  }

}

static void MX_TIM8_Init(void)
{

  TIM_ClockConfigTypeDef sClockSourceConfig = {0};
  TIM_MasterConfigTypeDef sMasterConfig = {0};
  TIM_IC_InitTypeDef sConfigIC = {0};

  htim8.Instance = TIM8;
  htim8.Init.Prescaler = 167;
  htim8.Init.CounterMode = TIM_COUNTERMODE_UP;
  htim8.Init.Period = 0xffff;
  htim8.Init.ClockDivision = TIM_CLOCKDIVISION_DIV1;
  htim8.Init.RepetitionCounter = 0;
  htim8.Init.AutoReloadPreload = TIM_AUTORELOAD_PRELOAD_DISABLE;
  if (HAL_TIM_Base_Init(&htim8) != HAL_OK)
  {
    Error_Handler();
  }
  sClockSourceConfig.ClockSource = TIM_CLOCKSOURCE_INTERNAL;
  if (HAL_TIM_ConfigClockSource(&htim8, &sClockSourceConfig) != HAL_OK)
  {
    Error_Handler();
  }
  if (HAL_TIM_IC_Init(&htim8) != HAL_OK)
  {
    Error_Handler();
  }
  sMasterConfig.MasterOutputTrigger = TIM_TRGO_RESET;
  sMasterConfig.MasterSlaveMode = TIM_MASTERSLAVEMODE_DISABLE;
  if (HAL_TIMEx_MasterConfigSynchronization(&htim8, &sMasterConfig) != HAL_OK)
  {
    Error_Handler();
  }
  sConfigIC.ICPolarity = TIM_INPUTCHANNELPOLARITY_RISING;
  sConfigIC.ICSelection = TIM_ICSELECTION_DIRECTTI;
  sConfigIC.ICPrescaler = TIM_ICPSC_DIV1;
  sConfigIC.ICFilter = 0;
  if (HAL_TIM_IC_ConfigChannel(&htim8, &sConfigIC, TIM_CHANNEL_4) != HAL_OK)
  {
    Error_Handler();
  }

}

static void MX_USART2_UART_Init(void)
{

  huart2.Instance = USART2;
  huart2.Init.BaudRate = 19200;
  huart2.Init.WordLength = UART_WORDLENGTH_8B;
  huart2.Init.StopBits = UART_STOPBITS_1;
  huart2.Init.Parity = UART_PARITY_NONE;
  huart2.Init.Mode = UART_MODE_TX_RX;
  huart2.Init.HwFlowCtl = UART_HWCONTROL_NONE;
  huart2.Init.OverSampling = UART_OVERSAMPLING_16;
  if (HAL_UART_Init(&huart2) != HAL_OK)
  {
    Error_Handler();
  }

}

static void MX_DMA_Init(void)
{

  /* DMA controller clock enable */
  __HAL_RCC_DMA2_CLK_ENABLE();

  /* DMA interrupt init */
  /* DMA2_Stream0_IRQn interrupt configuration */
  HAL_NVIC_SetPriority(DMA2_Stream0_IRQn, 0, 0);
  HAL_NVIC_EnableIRQ(DMA2_Stream0_IRQn);
  /* DMA2_Stream7_IRQn interrupt configuration */
  HAL_NVIC_SetPriority(DMA2_Stream7_IRQn, 0, 0);
  HAL_NVIC_EnableIRQ(DMA2_Stream7_IRQn);

}

static void MX_GPIO_Init(void)
{
  GPIO_InitTypeDef GPIO_InitStruct = {0};

  /* GPIO Ports Clock Enable */
  __HAL_RCC_GPIOE_CLK_ENABLE();
  __HAL_RCC_GPIOC_CLK_ENABLE();
  __HAL_RCC_GPIOH_CLK_ENABLE();
  __HAL_RCC_GPIOA_CLK_ENABLE();
  __HAL_RCC_GPIOB_CLK_ENABLE();
  __HAL_RCC_GPIOD_CLK_ENABLE();

  /*Configure GPIO pin Output Level */
  HAL_GPIO_WritePin(GPIOC, SPEAK_Pin|RF_CE_Pin, GPIO_PIN_RESET);

  /*Configure GPIO pin Output Level */
  HAL_GPIO_WritePin(GPIOE, LED_G_Pin|LED_Y_Pin|LED_R_Pin, GPIO_PIN_RESET);

  /*Configure GPIO pin Output Level */
  HAL_GPIO_WritePin(GPIOB, Mz_CS_Pin|Mz_RST_Pin, GPIO_PIN_RESET);

  /*Configure GPIO pin Output Level */
  HAL_GPIO_WritePin(RF_CSN_GPIO_Port, RF_CSN_Pin, GPIO_PIN_SET);

  /*Configure GPIO pins : KEY3_Pin KEY4_Pin KEY5_Pin KEY6_Pin
                           KEY7_Pin KEY8_Pin KEY1_Pin KEY2_Pin */
  GPIO_InitStruct.Pin = KEY3_Pin|KEY4_Pin|KEY5_Pin|KEY6_Pin
                          |KEY7_Pin|KEY8_Pin|KEY1_Pin|KEY2_Pin;
  GPIO_InitStruct.Mode = GPIO_MODE_INPUT;
  GPIO_InitStruct.Pull = GPIO_PULLUP;
  HAL_GPIO_Init(GPIOE, &GPIO_InitStruct);

  /*Configure GPIO pin : SPEAK_Pin */
  GPIO_InitStruct.Pin = SPEAK_Pin;
  GPIO_InitStruct.Mode = GPIO_MODE_OUTPUT_PP;
  GPIO_InitStruct.Pull = GPIO_NOPULL;
  GPIO_InitStruct.Speed = GPIO_SPEED_FREQ_LOW;
  HAL_GPIO_Init(SPEAK_GPIO_Port, &GPIO_InitStruct);

  /*Configure GPIO pins : LED_G_Pin LED_Y_Pin LED_R_Pin */
  GPIO_InitStruct.Pin = LED_G_Pin|LED_Y_Pin|LED_R_Pin;
  GPIO_InitStruct.Mode = GPIO_MODE_OUTPUT_PP;
  GPIO_InitStruct.Pull = GPIO_NOPULL;
  GPIO_InitStruct.Speed = GPIO_SPEED_FREQ_LOW;
  HAL_GPIO_Init(GPIOE, &GPIO_InitStruct);

  /*Configure GPIO pins : Mz_CS_Pin Mz_RST_Pin */
  GPIO_InitStruct.Pin = Mz_CS_Pin|Mz_RST_Pin;
  GPIO_InitStruct.Mode = GPIO_MODE_OUTPUT_PP;
  GPIO_InitStruct.Pull = GPIO_NOPULL;
  GPIO_InitStruct.Speed = GPIO_SPEED_FREQ_LOW;
  HAL_GPIO_Init(GPIOB, &GPIO_InitStruct);

  /*Configure GPIO pin : EC_SW_Pin */
  GPIO_InitStruct.Pin = EC_SW_Pin;
  GPIO_InitStruct.Mode = GPIO_MODE_INPUT;
  GPIO_InitStruct.Pull = GPIO_PULLUP;
  HAL_GPIO_Init(EC_SW_GPIO_Port, &GPIO_InitStruct);

  /*Configure GPIO pin : RF_CSN_Pin */
  GPIO_InitStruct.Pin = RF_CSN_Pin;
  GPIO_InitStruct.Mode = GPIO_MODE_OUTPUT_PP;
  GPIO_InitStruct.Pull = GPIO_NOPULL;
  GPIO_InitStruct.Speed = GPIO_SPEED_FREQ_HIGH;
  HAL_GPIO_Init(RF_CSN_GPIO_Port, &GPIO_InitStruct);

  /*Configure GPIO pin : RF_IRQ_Pin */
  GPIO_InitStruct.Pin = RF_IRQ_Pin;
  GPIO_InitStruct.Mode = GPIO_MODE_INPUT;
  GPIO_InitStruct.Pull = GPIO_PULLUP;
  HAL_GPIO_Init(RF_IRQ_GPIO_Port, &GPIO_InitStruct);

  /*Configure GPIO pin : RF_CE_Pin */
  GPIO_InitStruct.Pin = RF_CE_Pin;
  GPIO_InitStruct.Mode = GPIO_MODE_OUTPUT_PP;
  GPIO_InitStruct.Pull = GPIO_NOPULL;
  GPIO_InitStruct.Speed = GPIO_SPEED_FREQ_HIGH;
  HAL_GPIO_Init(RF_CE_GPIO_Port, &GPIO_InitStruct);

  /*Configure GPIO pins : OV_D0_Pin OV_D1_Pin OV_D2_Pin OV_D3_Pin
                           OV_D4_Pin OV_D5_Pin OV_D6_Pin OV_D7_Pin */
  GPIO_InitStruct.Pin = OV_D0_Pin|OV_D1_Pin|OV_D2_Pin|OV_D3_Pin
                          |OV_D4_Pin|OV_D5_Pin|OV_D6_Pin|OV_D7_Pin;
  GPIO_InitStruct.Mode = GPIO_MODE_INPUT;
  GPIO_InitStruct.Pull = GPIO_PULLDOWN;
  HAL_GPIO_Init(GPIOD, &GPIO_InitStruct);

  /*Configure GPIO pin : VSYNC_Pin */
  GPIO_InitStruct.Pin = VSYNC_Pin;
  GPIO_InitStruct.Mode = GPIO_MODE_IT_FALLING;
  GPIO_InitStruct.Pull = GPIO_PULLDOWN;
  HAL_GPIO_Init(VSYNC_GPIO_Port, &GPIO_InitStruct);

  /* EXTI interrupt init*/
  HAL_NVIC_SetPriority(EXTI9_5_IRQn, 1, 0);
  HAL_NVIC_EnableIRQ(EXTI9_5_IRQn);

}

void Error_Handler(void)
{
}

/************************ (C) COPYRIGHT STMicroelectronics *****END OF FILE****/
